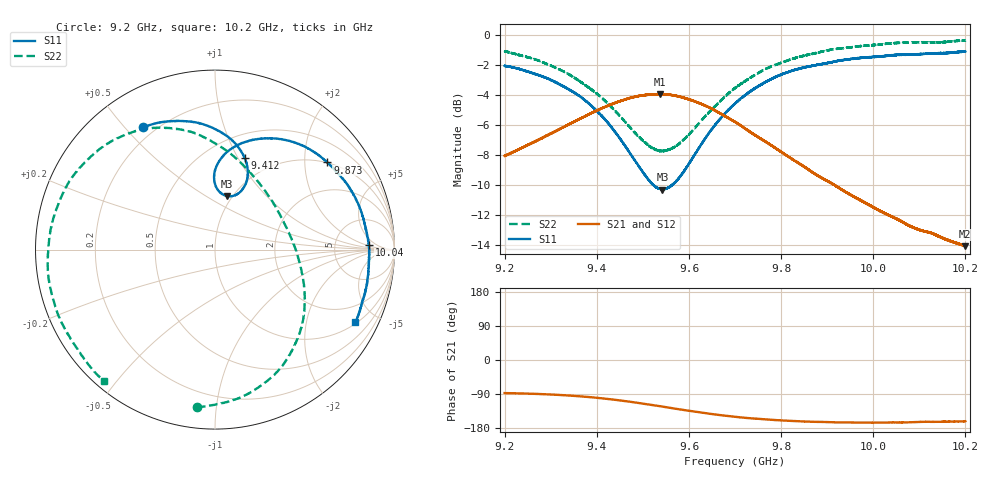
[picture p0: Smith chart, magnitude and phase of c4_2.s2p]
!Agilent Technologies,N5242A,MY51221714,A.09.90.19
!Agilent N5242A: A.09.90.19
!Date: Saturday, December 30, 2023 10:26:21
!Correction: S11(Full 2 Port(1,2))
!S21(Full 2 Port(1,2))
!S12(Full 2 Port(1,2))
!S22(Full 2 Port(1,2))
!S2P File: Measurements: S11, S21, S12, S22:
# Hz S  dB  R 50
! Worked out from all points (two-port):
!   16001 points, 9.2 GHz to 10.2 GHz, reference 50 ohm
!   highest |S21| = -3.94 dB at 9.537 GHz (marker M1); lowest = -14.1 dB at 10.2 GHz (marker M2)
!   |S21| within 3 dB of the highest: 9.276813 GHz to 9.276992 GHz (178.1 kHz wide, 0.00192 % of centre); 9.277 GHz to 9.757 GHz (479.8 MHz wide, 5.04 % of centre)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
!   lowest |S11| = -10.3 dB at 9.542 GHz (marker M3), VSWR 1.88, Z = 47.2 + j31 ohm
!   |S11| at or under -10 dB: 9.522546 GHz to 9.522591 GHz (44.76 kHz wide, 0.00047 % of centre); 9.523164 GHz to 9.563156 GHz (39.99 MHz wide, 0.419 % of centre); 9.563244 GHz to 9.563486 GHz (242.6 kHz wide, 0.00254 % of centre)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
!   |S22| runs from -7.7 to -0.4 dB; largest |S21 - S12| = 0.0092
!   S11 on the Smith chart (normalised r, x): 9.2 GHz: 0.16, +0.56; 9.412 GHz: 0.75, +1.07; 9.873 GHz: 0.99, +2.59; 10.04 GHz: 13, +2; 10.2 GHz: 1.05, -3.83
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9.2e9  -2.06 120.4  -8.06 -87.3  -8.05 -88.0  -1.08 -96.6
9.278e9  -2.72 102.2  -6.93 -89.9  -6.91 -90.5  -1.76 -75.4
9.319688e9  -3.29 92.2  -6.27 -92.3  -6.25 -92.9  -2.30 -63.7
9.366688e9  -4.17 81.4  -5.54 -96.1  -5.51 -96.9  -3.16 -50.6
9.412188e9  -5.43 71.9  -4.86 -101.3  -4.86 -102.0  -4.23 -36.4
9.466e9  -7.60 65.2  -4.25 -109.2  -4.25 -109.9  -5.93 -15.7
9.533375e9  -10.22 74.5  -3.95 -121.3  -3.93 -121.9  -7.70 22.4
9.5375e9  -10.27 75.7  -3.94 -122.1  -3.93 -122.7  -7.72 25.2
9.542438e9  -10.31 77.5  -3.95 -123.0  -3.94 -123.7  -7.72 28.4
9.573938e9  -9.70 86.5  -4.08 -129.1  -4.05 -129.8  -7.36 48.8
9.622938e9  -7.47 90.6  -4.55 -138.1  -4.54 -138.8  -5.84 74.7
9.66025e9  -5.86 86.2  -5.09 -144.3  -5.08 -145.0  -4.64 89.0
9.7e9  -4.57 78.3  -5.79 -149.8  -5.76 -150.6  -3.53 100.9
9.780625e9  -2.90 59.3  -7.39 -157.9  -7.40 -158.8  -2.06 122.2
9.866688e9  -2.05 39.0  -9.12 -163.0  -9.12 -163.7  -1.26 143.4
9.8725e9  -2.02 37.8  -9.24 -163.1  -9.23 -163.8  -1.22 144.9
9.959375e9  -1.57 19.1  -10.80 -165.0  -10.79 -165.8  -0.78 166.9
1.003338e10  -1.37 4.1  -12.01 -165.0  -12.00 -165.8  -0.56 -174.2
1.004488e10  -1.34 1.7  -12.17 -164.9  -12.17 -165.6  -0.54 -171.2
1.011138e10  -1.26 -10.9  -13.09 -163.1  -13.10 -163.9  -0.48 -153.8
1.019931e10  -1.10 -27.2  -14.08 -161.8  -14.07 -162.7  -0.37 -130.2
1.02e10  -1.10 -27.4  -14.06 -161.9  -14.07 -162.7  -0.37 -130.0
